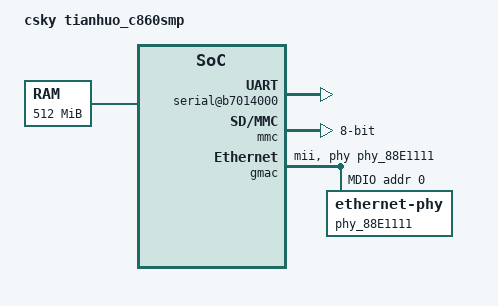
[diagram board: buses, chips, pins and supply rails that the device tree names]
/dts-v1/;
/ {
    model = "csky tianhuo_c860smp";
    compatible = "csky,tianhuo_c860smp";
    #address-cells = <1>;
    #size-cells = <1>;

    memory {
        device_type = "memory";
        reg = <0x80000000 0x20000000>;
    };

    cpus {
        #address-cells = <1>;
        #size-cells = <0>;
        cpu@0 {
            device_type = "cpu";
            reg = <0>;
            status = "ok";
        };
    };

    soc {
        #address-cells = <1>;
        #size-cells = <1>;
        compatible = "simple-bus";
        ranges;

        dummy_apb: apb-clock {
            compatible = "fixed-clock";
            clock-frequency = <50000000>;
            clock-output-names = "dummy_apb";
            #clock-cells = <0>;
        };

        intc: interrupt-controller {
            compatible = "csky,mpintc";
            interrupt-controller;
            #interrupt-cells = <1>;
        };

        serial@b7014000 {
            compatible = "snps,dw-apb-uart";
            reg = <0xb7014000 0x4000>;
            interrupt-parent = <&intc>;
            interrupts = <56>;
            clocks = <&dummy_apb>;
            clock-frequency = <50000000>;
            clock-names = "baudclk";
            reg-shift = <2>;
            reg-io-width = <4>;
        };

        mmc: mmc0@b7080000 {
            compatible = "snps,dw-mshc";
            reg = <0xb7080000 0x400>;
            bus-width = <8>;
            clocks = <&dummy_apb>, <&dummy_apb>;
            clock-names = "biu", "ciu";
            max-frequency = <25000000>;
        };

        gmac: ethernet@b7070000 {
            compatible = "snps,arc-dwmac-3.70a";
            reg = <0xb7070000 0x4000>;
            interrupt-parent = <&intc>;
            interrupts = <50>;
            interrupt-names = "macirq";
            clocks = <&dummy_apb>;
            clock-names = "stmmaceth";
            snps,pbl = <32>;
            snps,fixed-burst;
            phy-handle = <&phy_88E1111>;
            phy-mode = "mii";
            max-speed = <100>;
            mdio0 {
                #address-cells = <1>;
                #size-cells = <0>;
                compatible = "snps,dwmac-mdio";

                phy_88E1111: ethernet-phy@0 {
                    reg = <0>;
                };
            };
        };
    };

    chosen {
        bootargs = "console=ttyS0,115200";
        stdout-path = "/soc/serial@b7014000:115200";
    };
};
